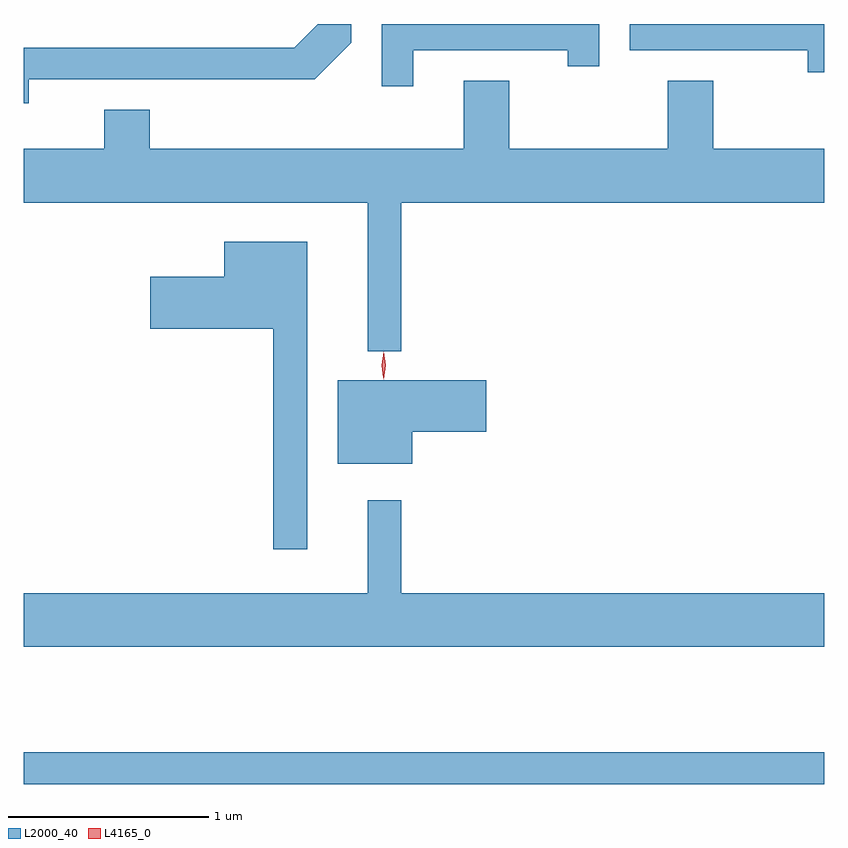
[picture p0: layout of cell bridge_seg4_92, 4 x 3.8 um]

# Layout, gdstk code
import gdstk
lib = gdstk.Library(unit=1e-6, precision=1e-09)
def R(c, l, rs):  # rectangles x0, y0, x1, y1
    for r in rs: c.add(gdstk.rectangle(r[:2], r[2:], *l))
def P(c, l, *ps):  # polygons
    for p in ps: c.add(gdstk.Polygon(p, *l))
L2000_40 = (2000, 40)
L4165_0 = (4165, 0)

bridge_seg4_92 = lib.new_cell('bridge_seg4_92')
R(bridge_seg4_92, L2000_40, [(962.063,1382.851,966.063,1383.009)])
P(bridge_seg4_92, L2000_40, [(962.089,1386.371),(963.517,1386.371),(963.699,1386.554),(963.699,1386.648),(963.532,1386.648),(963.414,1386.529),(962.063,1386.529),(962.063,1386.251),(962.089,1386.251)],
  [(966.063,1386.648),(965.091,1386.648),(965.091,1386.516),(965.981,1386.516),(965.981,1386.406),(966.063,1386.406)],
  [(964.009,1386.516),(964.781,1386.516),(964.781,1386.438),(964.939,1386.438),(964.939,1386.648),(963.851,1386.648),(963.851,1386.338),(964.009,1386.338)],
  [(963.949,1385.756),(966.063,1385.756),(966.063,1386.024),(965.509,1386.024),(965.509,1386.364),(965.281,1386.364),(965.281,1386.024),(964.489,1386.024),(964.489,1386.364),(964.261,1386.364),(964.261,1386.024),(962.694,1386.024),(962.694,1386.219),(962.466,1386.219),(962.466,1386.024),(962.063,1386.024),(962.063,1385.756),(963.781,1385.756),(963.781,1385.013),(963.949,1385.013)],
  [(963.479,1385.559),(963.066,1385.559),(963.066,1385.384),(962.696,1385.384),(962.696,1385.126),(963.311,1385.126),(963.311,1384.023),(963.479,1384.023)],
  [(964.004,1384.611),(964.374,1384.611),(964.374,1384.869),(963.631,1384.869),(963.631,1384.451),(964.004,1384.451)],
  [(966.063,1383.804),(963.949,1383.804),(963.949,1384.268),(963.781,1384.268),(963.781,1383.804),(962.063,1383.804),(962.063,1383.536),(966.063,1383.536)])
P(bridge_seg4_92, L4165_0, [(963.861,1384.874),(963.861,1384.874),(963.852,1384.942),(963.862,1385.01),(963.863,1385.01),(963.863,1385.01),(963.872,1384.942),(963.862,1384.874)],
  [(963.861,1384.88),(963.86,1384.881),(963.852,1384.944),(963.862,1385.006),(963.863,1385.007),(963.863,1385.006),(963.872,1384.944),(963.861,1384.881)])

lib.write_gds('bridge_seg4_92.gds')
